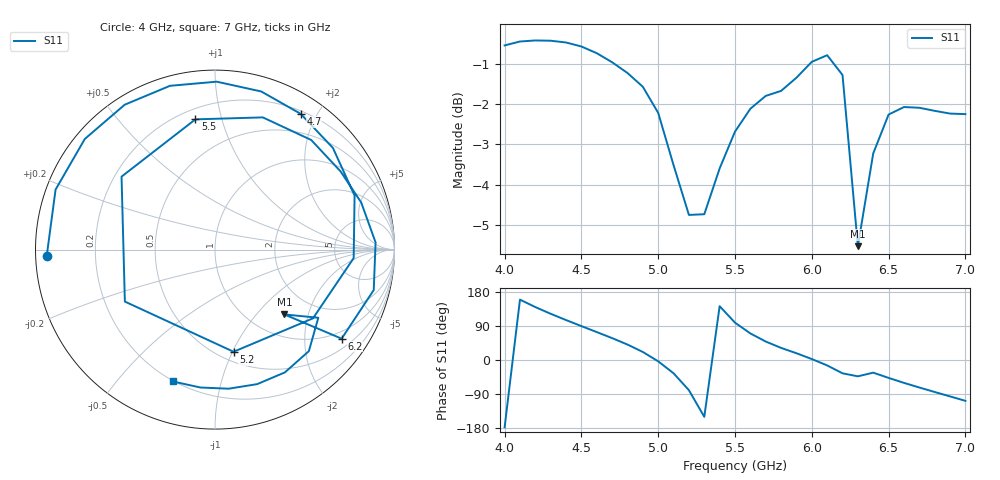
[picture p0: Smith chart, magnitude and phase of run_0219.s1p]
! Touchstone file exported from HFSS 2024.2.0
!  File:  C:/Users/wsak9/Desktop/Sim Fast/Widenad Patch/WP_AI_V1_sweep.aedt
!  Generated:  12:09:05 AM Oct 14, 2026
!  Design:  A1_model
!  Project:  WP_AI_V1_sweep
!  Setup:  Setup1
!  Solution:  Sweep
! Variables:
!  Air_gap = 1.72mm
!  Curve_Amp1 = 3.8
!  Curve_len1 = 1
!  Curve_pos = 9.715mm
!  Extra = 6.21mm
!  H_sub = 0.79mm
!  L_Patch = 15.43mm
!  L_Patch1 = 19.35mm
!  Sx = 4.01mm
!  Sy = 1.55mm
!  WS = 0.73mm
!  W_Patch = 16.51mm
!  W_Patch1 = 13.14mm
!Data is not renormalized
# GHz S MA
! Terminal data exported
! Port[1] = 1
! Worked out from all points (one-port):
!   31 points, 4 GHz to 7 GHz, reference per port
!   lowest |S11| = -5.5 dB at 6.3 GHz (marker M1), VSWR 3.25
!   |S11| at or under -10 dB: nowhere
!   S11 on the Smith chart (normalised r, x): 4 GHz: 0.03, -0.02; 4.7 GHz: 0.24, +1.79; 5.2 GHz: 0.59, -1.01; 5.5 GHz: 0.26, +0.83; 6.2 GHz: 0.77, -2.98; 7 GHz: 0.20, -0.71
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4  0.9385 -177.8
4.1  0.9491 159.4
4.2  0.9519 139.6
4.3  0.9512 121.9
4.4  0.9464 105.4
4.5  0.9356 89.4
4.6  0.9179 73.7
4.7  0.8945 57.7
4.8  0.8675 40.8
4.9  0.834 21.2
5  0.7741 -3.5
5.1  0.6668 -35.1
5.2  0.5785 -79.7
5.3  0.5797 -150.0
5.4  0.6606 142.0
5.5  0.7338 98.6
5.6  0.7833 70.1
5.7  0.8126 48.7
5.9  0.8558 17.8
6  0.8955 2.6
6.1  0.9126 -14.3
6.2  0.8625 -35.1
6.3  0.5292 -43.1
6.4  0.6896 -33.4
6.5  0.7704 -47.3
6.7  0.7855 -72.6
6.8  0.7787 -84.4
7  0.7714 -107.8
